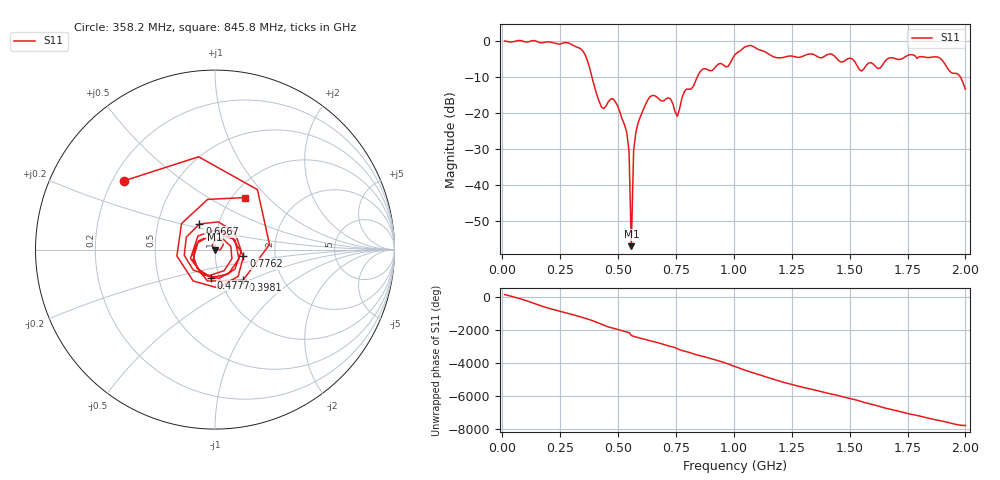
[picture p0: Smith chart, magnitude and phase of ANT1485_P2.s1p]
!Created with skrf (http://scikit-rf.org).
# Hz S RI R 50.0
!freq ReS11 ImS11
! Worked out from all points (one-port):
!   201 points, 10 MHz to 2 GHz, reference 50 ohm
!   lowest |S11| = -56.9 dB at 557.2 MHz (marker M1), VSWR 1.00, Z = 49.9 - j0.0112 ohm
!   |S11| at or under -10 dB: 386.9 MHz to 842.5 MHz (455.6 MHz wide, 74.1 % of centre); 1.978 GHz to end of sweep
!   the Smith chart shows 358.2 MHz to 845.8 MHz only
!   S11 on the Smith chart (normalised r, x): 358.2 MHz: 0.25, +0.32; 398.1 MHz: 1.28, -0.46; 477.6 MHz: 0.91, -0.29; 666.7 MHz: 0.81, +0.24; 776.1 MHz: 1.37, -0.10; 845.8 MHz: 1.14, +0.75
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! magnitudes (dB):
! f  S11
! 10 MHz  -0.1
! 258.8 MHz  -0.7
! 358.2 MHz  -3.9
! 398.1 MHz  -12.7
! 437.9 MHz  -18.8
! 477.6 MHz  -16.1
! 507.5 MHz  -19.7
! 537.4 MHz  -25.4
! 547.3 MHz  -30.6
! 557.2 MHz  -56.9
! 567.2 MHz  -30.5
! 577.1 MHz  -25.2
! 626.9 MHz  -16.6
! 666.7 MHz  -15.5
! 726.4 MHz  -16.1
! 756.2 MHz  -20.9
! 776.1 MHz  -15.8
! 845.8 MHz  -9.5
! 975.1 MHz  -7.1
! 1.005 GHz  -3.8
! 1.075 GHz  -1.3
! 1.254 GHz  -4.3
! 1.502 GHz  -4.8
! 1.552 GHz  -8.4
! 1.751 GHz  -4.0
! 1.891 GHz  -4.8
! 1.97 GHz  -9.3
! 2 GHz  -13.4
